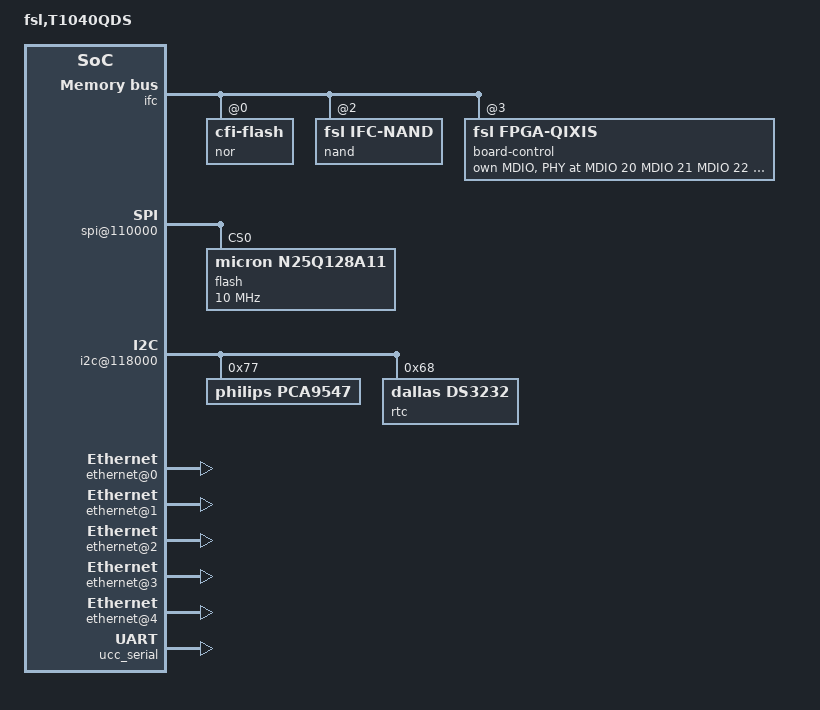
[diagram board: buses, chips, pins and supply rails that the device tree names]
/*
 * T104xQDS Device Tree Source
 *
 * Copyright 2013 - 2014 Freescale Semiconductor Inc.
 *
 * Redistribution and use in source and binary forms, with or without
 * modification, are permitted provided that the following conditions are met:
 *     * Redistributions of source code must retain the above copyright
 *	 notice, this list of conditions and the following disclaimer.
 *     * Redistributions in binary form must reproduce the above copyright
 *	 notice, this list of conditions and the following disclaimer in the
 *	 documentation and/or other materials provided with the distribution.
 *     * Neither the name of Freescale Semiconductor nor the
 *	 names of its contributors may be used to endorse or promote products
 *	 derived from this software without specific prior written permission.
 *
 *
 * ALTERNATIVELY, this software may be distributed under the terms of the
 * GNU General Public License ("GPL") as published by the Free Software
 * Foundation, either version 2 of that License or (at your option) any
 * later version.
 *
 * THIS SOFTWARE IS PROVIDED BY Freescale Semiconductor "AS IS" AND ANY
 * EXPRESS OR IMPLIED WARRANTIES, INCLUDING, BUT NOT LIMITED TO, THE IMPLIED
 * WARRANTIES OF MERCHANTABILITY AND FITNESS FOR A PARTICULAR PURPOSE ARE
 * DISCLAIMED. IN NO EVENT SHALL Freescale Semiconductor BE LIABLE FOR ANY
 * DIRECT, INDIRECT, INCIDENTAL, SPECIAL, EXEMPLARY, OR CONSEQUENTIAL DAMAGES
 * (INCLUDING, BUT NOT LIMITED TO, PROCUREMENT OF SUBSTITUTE GOODS OR SERVICES;
 * LOSS OF USE, DATA, OR PROFITS; OR BUSINESS INTERRUPTION) HOWEVER CAUSED AND
 * ON ANY THEORY OF LIABILITY, WHETHER IN CONTRACT, STRICT LIABILITY, OR TORT
 * (INCLUDING NEGLIGENCE OR OTHERWISE) ARISING IN ANY WAY OUT OF THE USE OF THIS
 * SOFTWARE, EVEN IF ADVISED OF THE POSSIBILITY OF SUCH DAMAGE.
 */

/ {
	model = "fsl,T1040QDS";
	#address-cells = <2>;
	#size-cells = <2>;
	interrupt-parent = <&mpic>;

	aliases {
		emi1_rgmii0 = &t1040mdio0;
		emi1_rgmii1 = &t1040mdio1;
		emi1_slot3 = &t1040mdio3;
		emi1_slot5 = &t1040mdio5;
		emi1_slot6 = &t1040mdio6;
		emi1_slot7 = &t1040mdio7;
		rgmii_phy1 = &rgmii_phy1;
		rgmii_phy2 = &rgmii_phy2;
		phy_s3_01 = &phy_s3_01;
		phy_s3_02 = &phy_s3_02;
		phy_s3_03 = &phy_s3_03;
		phy_s3_04 = &phy_s3_04;
		phy_s5_01 = &phy_s5_01;
		phy_s5_02 = &phy_s5_02;
		phy_s5_03 = &phy_s5_03;
		phy_s5_04 = &phy_s5_04;
		phy_s6_01 = &phy_s6_01;
		phy_s6_02 = &phy_s6_02;
		phy_s6_03 = &phy_s6_03;
		phy_s6_04 = &phy_s6_04;
		phy_s7_01 = &phy_s7_01;
		phy_s7_02 = &phy_s7_02;
		phy_s7_03 = &phy_s7_03;
		phy_s7_04 = &phy_s7_04;
	};

	reserved-memory {
		#address-cells = <2>;
		#size-cells = <2>;
		ranges;

		bman_fbpr: bman-fbpr {
			size = <0 0x1000000>;
			alignment = <0 0x1000000>;
		};
		qman_fqd: qman-fqd {
			size = <0 0x800000>;
			alignment = <0 0x800000>;
		};
		qman_pfdr: qman-pfdr {
			size = <0 0x2000000>;
			alignment = <0 0x2000000>;
		};
		pme_pdsr: pme-pdsr {
			compatible = "fsl,pme-pdsr";
			alloc-ranges = <0 0 0x10000 0>;
			size = <0 0x1000000>;
			alignment = <0 0x1000000>;
		};
		pme_sre: pme-sre {
			 compatible = "fsl,pme-sre";
			 alloc-ranges = <0 0 0x10000 0>;
			 size = <0 0xa00000>;
			 alignment = <0 0xa00000>;
		};
	};

	ifc: localbus@ffe124000 {
		reg = <0xf 0xfe124000 0 0x2000>;
		ranges = <0 0 0xf 0xe8000000 0x08000000
			  2 0 0xf 0xff800000 0x00010000
			  3 0 0xf 0xffdf0000 0x00008000>;

		nor@0,0 {
			#address-cells = <1>;
			#size-cells = <1>;
			compatible = "cfi-flash";
			reg = <0x0 0x0 0x8000000>;

			bank-width = <2>;
			device-width = <1>;
		};

		nand@2,0 {
			#address-cells = <1>;
			#size-cells = <1>;
			compatible = "fsl,ifc-nand";
			reg = <0x2 0x0 0x10000>;
		};

		board-control@3,0 {
			#address-cells = <1>;
			#size-cells = <1>;
			compatible = "fsl,fpga-qixis";
			reg = <3 0 0x300>;
			mdio-mux-emi1 {
				compatible = "mdio-mux-mmioreg", "mdio-mux";
				mdio-parent-bus = <&mdio0>;
				#address-cells = <1>;
				#size-cells = <0>;
				reg = <0x54 1>;    /* BRDCFG4 */
				mux-mask = <0xe0>; /* EMI1 */

				/* On-board RGMII1 PHY */
				t1040mdio0: mdio@0 {
					reg = <0x00>;
					#address-cells = <1>;
					#size-cells = <0>;
					status = "disabled";

					rgmii_phy1: ethernet-phy@1 { /* MAC3 */
						reg = <0x1>;
					};
				};

				/* On-board RGMII2 PHY */
				t1040mdio1: mdio@20 {
					reg = <0x20>;
					#address-cells = <1>;
					#size-cells = <0>;
					status = "disabled";

					rgmii_phy2: ethernet-phy@2 { /* MAC4 */
						reg = <0x2>;
					};
				};

				/* Slot 3 */
				t1040mdio3: mdio@60 {
					reg = <0x60>;
					#address-cells = <1>;
					#size-cells = <0>;
					status = "disabled";

					phy_s3_01: ethernet-phy@1c {
						reg = <0x1c>;
					};
					phy_s3_02: ethernet-phy@1d {
						reg = <0x1d>;
					};
					phy_s3_03: ethernet-phy@1e {
						reg = <0x1e>;
					};
					phy_s3_04: ethernet-phy@1f {
						reg = <0x1f>;
					};
				};

				/* Slot 5 */
				t1040mdio5: mdio@a0 {
					reg = <0xa0>;
					#address-cells = <1>;
					#size-cells = <0>;

					phy_s5_01: ethernet-phy@1c {
						reg = <0x14>;
					};
					phy_s5_02: ethernet-phy@1d {
						reg = <0x15>;
					};
					phy_s5_03: ethernet-phy@1e {
						reg = <0x16>;
					};
					phy_s5_04: ethernet-phy@1f {
						reg = <0x17>;
					};
				};

				/* Slot 6 */
				t1040mdio6: mdio@c0 {
					reg = <0xc0>;
					#address-cells = <1>;
					#size-cells = <0>;

					phy_s6_01: ethernet-phy@1c {
						reg = <0x18>;
					};
					phy_s6_02: ethernet-phy@1d {
						reg = <0x19>;
					};
					phy_s6_03: ethernet-phy@1e {
						reg = <0x1a>;
					};
					phy_s6_04: ethernet-phy@1f {
						reg = <0x1b>;
					};
				};

				/* Slot 7 */
				t1040mdio7: mdio@e0 {
					reg = <0xe0>;
					#address-cells = <1>;
					#size-cells = <0>;
					status = "disabled";

					phy_s7_01: ethernet-phy@1c {
						reg = <0x1c>;
					};
					phy_s7_02: ethernet-phy@1d {
						reg = <0x1d>;
					};
					phy_s7_03: ethernet-phy@1e {
						reg = <0x1e>;
					};
					phy_s7_04: ethernet-phy@1f {
						reg = <0x1f>;
					};
				};
			};
		};
	};

	memory {
		device_type = "memory";
	};

	dcsr: dcsr@f00000000 {
		ranges = <0x00000000 0xf 0x00000000 0x01072000>;
	};

	bportals: bman-portals@ff4000000 {
		ranges = <0x0 0xf 0xf4000000 0x2000000>;
	};

	qportals: qman-portals@ff6000000 {
		ranges = <0x0 0xf 0xf6000000 0x2000000>;
	};

	soc: soc@ffe000000 {
		ranges = <0x00000000 0xf 0xfe000000 0x1000000>;
		reg = <0xf 0xfe000000 0 0x00001000>;

		spi@110000 {
			flash@0 {
				#address-cells = <1>;
				#size-cells = <1>;
				compatible = "micron,n25q128a11", "jedec,spi-nor";
				reg = <0>;
				spi-max-frequency = <10000000>; /* input clock */
			};
		};

		i2c@118000 {
			pca9547@77 {
				compatible = "philips,pca9547";
				reg = <0x77>;
			};
			rtc@68 {
				compatible = "dallas,ds3232";
				reg = <0x68>;
				interrupts = <0x1 0x1 0 0>;
			};
		};

		fman0: fman@400000 {
			rcpm-wakeup = <&rcpm 0x00000008>;

			enet0: ethernet@e0000 {
				fixed-link = <0 1 1000 0 0>;
				phy-connection-type = "sgmii";
				rcpm-wakeup = <&rcpm 0x80000000>;
			};

			enet1: ethernet@e2000 {
				fixed-link = <1 1 1000 0 0>;
				phy-connection-type = "sgmii";
				rcpm-wakeup = <&rcpm 0x40000000>;
			};

			enet2: ethernet@e4000 {
				phy-handle = <&phy_s7_03>;
				phy-connection-type = "sgmii";
				rcpm-wakeup = <&rcpm 0x20000000>;
			};

			enet3: ethernet@e6000 {
				phy-handle = <&rgmii_phy1>;
				phy-connection-type = "rgmii";
				rcpm-wakeup = <&rcpm 0x10000000>;
			};

			enet4: ethernet@e8000 {
				phy-handle = <&rgmii_phy2>;
				phy-connection-type = "rgmii";
				rcpm-wakeup = <&rcpm 0x08000000>;
			};

			mdio0: mdio@fc000 {
			};
		};
	};

	fsl,dpaa {
		compatible = "fsl,t1040-dpaa", "fsl,dpaa";
		ethernet@0 {
			compatible = "fsl,t1040-dpa-ethernet",
					"fsl,dpa-ethernet";
			fsl,fman-mac = <&enet0>;
		};
		ethernet@1 {
			compatible = "fsl,t1040-dpa-ethernet",
					"fsl,dpa-ethernet";
			fsl,fman-mac = <&enet1>;
		};
		ethernet@2 {
			compatible = "fsl,t1040-dpa-ethernet",
					"fsl,dpa-ethernet";
			fsl,fman-mac = <&enet2>;
		};
		ethernet@3 {
			compatible = "fsl,t1040-dpa-ethernet",
					"fsl,dpa-ethernet";
			fsl,fman-mac = <&enet3>;
		};
		ethernet@4 {
			compatible = "fsl,t1040-dpa-ethernet",
					"fsl,dpa-ethernet";
			fsl,fman-mac = <&enet4>;
		};
	};

	pci0: pcie@ffe240000 {
		reg = <0xf 0xfe240000 0 0x10000>;
		ranges = <0x02000000 0 0xe0000000 0xc 0x00000000 0x0 0x10000000
			  0x01000000 0 0x00000000 0xf 0xf8000000 0x0 0x00010000>;
		pcie@0 {
			ranges = <0x02000000 0 0xe0000000
				  0x02000000 0 0xe0000000
				  0 0x10000000

				  0x01000000 0 0x00000000
				  0x01000000 0 0x00000000
				  0 0x00010000>;
		};
	};

	pci1: pcie@ffe250000 {
		reg = <0xf 0xfe250000 0 0x10000>;
		ranges = <0x02000000 0x0 0xe0000000 0xc 0x10000000 0x0 0x10000000
			  0x01000000 0x0 0x00000000 0xf 0xf8010000 0x0 0x00010000>;
		pcie@0 {
			ranges = <0x02000000 0 0xe0000000
				  0x02000000 0 0xe0000000
				  0 0x10000000

				  0x01000000 0 0x00000000
				  0x01000000 0 0x00000000
				  0 0x00010000>;
		};
	};

	pci2: pcie@ffe260000 {
		reg = <0xf 0xfe260000 0 0x10000>;
		ranges = <0x02000000 0 0xe0000000 0xc 0x20000000 0 0x10000000
			  0x01000000 0 0x00000000 0xf 0xf8020000 0 0x00010000>;
		pcie@0 {
			ranges = <0x02000000 0 0xe0000000
				  0x02000000 0 0xe0000000
				  0 0x10000000

				  0x01000000 0 0x00000000
				  0x01000000 0 0x00000000
				  0 0x00010000>;
		};
	};

	pci3: pcie@ffe270000 {
		reg = <0xf 0xfe270000 0 0x10000>;
		ranges = <0x02000000 0 0xe0000000 0xc 0x30000000 0 0x10000000
			  0x01000000 0 0x00000000 0xf 0xf8030000 0 0x00010000>;
		pcie@0 {
			ranges = <0x02000000 0 0xe0000000
				  0x02000000 0 0xe0000000
				  0 0x10000000

				  0x01000000 0 0x00000000
				  0x01000000 0 0x00000000
				  0 0x00010000>;
		};
	};

	qe: qe@ffe140000 {
		ranges = <0x0 0xf 0xfe140000 0x40000>;
		reg = <0xf 0xfe140000 0 0x480>;
		brg-frequency = <0>;
		bus-frequency = <0>;

		si1: si@700 {
			#address-cells = <1>;
			#size-cells = <0>;
			compatible = "fsl,qe-si";
			reg = <0x700 0x80>;
		};

		siram1: siram@1000 {
			#address-cells = <1>;
			#size-cells = <1>;
			compatible = "fsl,qe-siram";
			reg = <0x1000 0x800>;
		};

		ucc_hdlc: ucc@2000 {
			compatible = "fsl,ucc_hdlc";
			rx-clock-name = "clk8";
			tx-clock-name = "clk9";
			fsl,rx-sync-clock = "rsync_pin";
			fsl,tx-sync-clock = "tsync_pin";
			fsl,tx-timeslot = <0xfffffffe>;
			fsl,rx-timeslot = <0xfffffffe>;
			fsl,tdm-framer-type = "e1";
			fsl,tdm-mode = "normal";
			fsl,tdm-id = <0>;
			fsl,siram-entry-id = <0>;
			fsl,tdm-interface;
		};

		ucc_serial: ucc@2200 {
			device_type = "serial";
			compatible = "ucc_uart";
			port-number = <0>;
			rx-clock-name = "brg2";
			tx-clock-name = "brg2";
		};
	};
};
